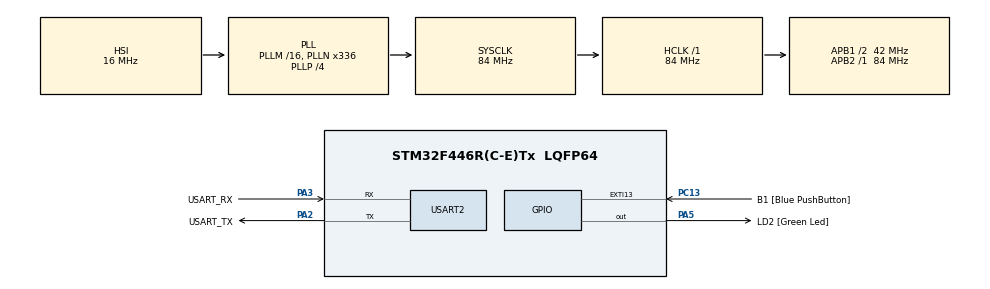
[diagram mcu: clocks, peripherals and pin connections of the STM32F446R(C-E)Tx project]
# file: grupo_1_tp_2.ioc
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Dma.Request0=USART2_TX
Dma.USART2_TX.0.Direction=DMA_MEMORY_TO_PERIPH
Dma.USART2_TX.0.FIFOMode=DMA_FIFOMODE_DISABLE
Dma.USART2_TX.0.Instance=DMA1_Stream6
Dma.USART2_TX.0.MemDataAlignment=DMA_MDATAALIGN_BYTE
Dma.USART2_TX.0.MemInc=DMA_MINC_ENABLE
Dma.USART2_TX.0.Mode=DMA_NORMAL
Dma.USART2_TX.0.PeriphDataAlignment=DMA_PDATAALIGN_BYTE
Dma.USART2_TX.0.PeriphInc=DMA_PINC_DISABLE
Dma.USART2_TX.0.Priority=DMA_PRIORITY_LOW
FREERTOS.INCLUDE_vTaskDelayUntil=1
FREERTOS.Tasks01=defaultTask,0,128,StartDefaultTask,Default,NULL,Dynamic,NULL,NULL
FREERTOS.configGENERATE_RUN_TIME_STATS=1
FREERTOS.configRECORD_STACK_HIGH_ADDRESS=1
FREERTOS.configUSE_IDLE_HOOK=1
FREERTOS.configUSE_STATS_FORMATTING_FUNCTIONS=1
FREERTOS.configUSE_TRACE_FACILITY=1
Mcu.Family=STM32F4
Mcu.Name=STM32F446R(C-E)Tx
Mcu.Package=LQFP64
NVIC.DMA1_Stream6_IRQn=true\:5\:0\:false\:false\:true\:true\:false\:true\:true
NVIC.PriorityGroup=NVIC_PRIORITYGROUP_4
NVIC.TIM1_UP_TIM10_IRQn=true\:15\:0\:false\:false\:true\:false\:false\:true\:true
NVIC.TIM2_IRQn=true\:5\:0\:false\:false\:true\:true\:true\:true\:true
NVIC.TimeBase=TIM1_UP_TIM10_IRQn
NVIC.TimeBaseIP=TIM1
NVIC.USART2_IRQn=true\:5\:0\:false\:false\:true\:true\:true\:true\:true
PA13.GPIO_Label=TMS
PA13.Mode=Serial_Wire
PA13.Signal=SYS_JTMS-SWDIO
PA14.GPIO_Label=TCK
PA14.Mode=Serial_Wire
PA14.Signal=SYS_JTCK-SWCLK
PA2.GPIO_Label=USART_TX
PA2.Mode=Asynchronous
PA2.Signal=USART2_TX
PA3.GPIO_Label=USART_RX
PA3.Mode=Asynchronous
PA3.Signal=USART2_RX
PA5.GPIO_Label=LD2 [Green Led]
PA5.Signal=GPIO_Output
PB3.GPIO_Label=SWO
PB3.Signal=SYS_JTDO-SWO
PC13.GPIO_Label=B1 [Blue PushButton]
PC13.GPIO_ModeDefaultEXTI=GPIO_MODE_IT_FALLING
PC13.Signal=GPXTI13
PC14-OSC32_IN.Mode=LSE-External-Oscillator
PC14-OSC32_IN.Signal=RCC_OSC32_IN
PC15-OSC32_OUT.Mode=LSE-External-Oscillator
PC15-OSC32_OUT.Signal=RCC_OSC32_OUT
PH0-OSC_IN.Mode=HSE-External-Oscillator
PH0-OSC_IN.Signal=RCC_OSC_IN
PH1-OSC_OUT.Mode=HSE-External-Oscillator
PH1-OSC_OUT.Signal=RCC_OSC_OUT
ProjectManager.HeapSize=0x200
ProjectManager.StackSize=0x400
ProjectManager.TargetToolchain=STM32CubeIDE
RCC.48MHZClocksFreq_Value=84000000
RCC.AHBFreq_Value=84000000
RCC.APB1CLKDivider=RCC_HCLK_DIV2
RCC.APB1Freq_Value=42000000
RCC.APB1TimFreq_Value=84000000
RCC.APB2Freq_Value=84000000
RCC.APB2TimFreq_Value=84000000
RCC.CortexFreq_Value=84000000
RCC.FLatency-AdvancedSettings=FLASH_LATENCY_2
RCC.HCLKFreq_Value=84000000
RCC.HSE_VALUE=8000000
RCC.HSI_VALUE=16000000
RCC.PLLN=336
RCC.PLLP=RCC_PLLP_DIV4
RCC.SYSCLKFreq_VALUE=84000000
RCC.SYSCLKSource=RCC_SYSCLKSOURCE_PLLCLK
RCC.USBFreq_Value=168000000
RCC.VCOOutputFreq_Value=336000000
TIM2.Period=42000-1
TIM2.Prescaler=2-1
USART2.VirtualMode=VM_ASYNC
VP_FREERTOS_VS_CMSIS_V1.Mode=CMSIS_V1
VP_SYS_VS_tim1.Mode=TIM1
VP_TIM2_VS_ClockSourceINT.Mode=Internal
board=NUCLEO-F446RE

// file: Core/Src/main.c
/* USER CODE BEGIN Header */
/**
  ******************************************************************************
  * @file           : main.c
  * @brief          : Main program body
  ******************************************************************************
  * @attention
  *
  * Copyright (c) 2025 STMicroelectronics.
  * All rights reserved.
  *
  * This software is licensed under terms that can be found in the LICENSE file
  * in the root directory of this software component.
  * If no LICENSE file comes with this software, it is provided AS-IS.
  *
  ******************************************************************************
  */
/* USER CODE END Header */
#include "main.h"
#include "cmsis_os.h"

/* USER CODE BEGIN Includes */
/* Demo includes. */
#include "logger.h"
#include "logger_sink_uart.h"
#include "ao_uart.h"
#include "port_uart.h"
#include "dwt.h"

/* Application includes. */
#include "app.h"

/* USER CODE END Includes */

TIM_HandleTypeDef htim2;

UART_HandleTypeDef huart2;
DMA_HandleTypeDef hdma_usart2_tx;

osThreadId defaultTaskHandle;
/* USER CODE BEGIN PV */
volatile unsigned long ulHighFrequencyTimerTicks;

/* USER CODE END PV */

void SystemClock_Config(void);
static void MX_GPIO_Init(void);
static void MX_DMA_Init(void);
static void MX_USART2_UART_Init(void);
static void MX_TIM2_Init(void);
void StartDefaultTask(void const * argument);

int main(void)
{

  /* MCU Configuration--------------------------------------------------------*/

  /* Reset of all peripherals, Initializes the Flash interface and the Systick. */
  HAL_Init();

  /* Configure the system clock */
  SystemClock_Config();

  /* Initialize all configured peripherals */
  MX_GPIO_Init();
  MX_DMA_Init();
  MX_USART2_UART_Init();
  MX_TIM2_Init();
  /* USER CODE BEGIN 2 */
  /* Start timer */
	HAL_TIM_Base_Start_IT(&htim2);

    /* add application, ... */
	app_init();

  /* USER CODE END 2 */

  /* USER CODE BEGIN RTOS_QUEUES */
  /* add queues, ... */
	#ifdef _defaultTask_

  /* USER CODE END RTOS_QUEUES */

  /* Create the thread(s) */
  /* definition and creation of defaultTask */
  osThreadDef(defaultTask, StartDefaultTask, osPriorityNormal, 0, 128);
  defaultTaskHandle = osThreadCreate(osThread(defaultTask), NULL);

  /* USER CODE BEGIN RTOS_THREADS */
	#endif

  /* add threads, ... */
  /* USER CODE END RTOS_THREADS */

  /* Start scheduler */
  osKernelStart();

  /* We should never get here as control is now taken by the scheduler */

  /* Infinite loop */
  while (1)
  {

  }
}

void SystemClock_Config(void)
{
  RCC_OscInitTypeDef RCC_OscInitStruct = {0};
  RCC_ClkInitTypeDef RCC_ClkInitStruct = {0};

  /** Configure the main internal regulator output voltage
  */
  __HAL_RCC_PWR_CLK_ENABLE();
  __HAL_PWR_VOLTAGESCALING_CONFIG(PWR_REGULATOR_VOLTAGE_SCALE3);

  /** Initializes the RCC Oscillators according to the specified parameters
  * in the RCC_OscInitTypeDef structure.
  */
  RCC_OscInitStruct.OscillatorType = RCC_OSCILLATORTYPE_HSI;
  RCC_OscInitStruct.HSIState = RCC_HSI_ON;
  RCC_OscInitStruct.HSICalibrationValue = RCC_HSICALIBRATION_DEFAULT;
  RCC_OscInitStruct.PLL.PLLState = RCC_PLL_ON;
  RCC_OscInitStruct.PLL.PLLSource = RCC_PLLSOURCE_HSI;
  RCC_OscInitStruct.PLL.PLLM = 16;
  RCC_OscInitStruct.PLL.PLLN = 336;
  RCC_OscInitStruct.PLL.PLLP = RCC_PLLP_DIV4;
  RCC_OscInitStruct.PLL.PLLQ = 2;
  RCC_OscInitStruct.PLL.PLLR = 2;
  if (HAL_RCC_OscConfig(&RCC_OscInitStruct) != HAL_OK)
  {
    Error_Handler();
  }

  /** Initializes the CPU, AHB and APB buses clocks
  */
  RCC_ClkInitStruct.ClockType = RCC_CLOCKTYPE_HCLK|RCC_CLOCKTYPE_SYSCLK
                              |RCC_CLOCKTYPE_PCLK1|RCC_CLOCKTYPE_PCLK2;
  RCC_ClkInitStruct.SYSCLKSource = RCC_SYSCLKSOURCE_PLLCLK;
  RCC_ClkInitStruct.AHBCLKDivider = RCC_SYSCLK_DIV1;
  RCC_ClkInitStruct.APB1CLKDivider = RCC_HCLK_DIV2;
  RCC_ClkInitStruct.APB2CLKDivider = RCC_HCLK_DIV1;

  if (HAL_RCC_ClockConfig(&RCC_ClkInitStruct, FLASH_LATENCY_2) != HAL_OK)
  {
    Error_Handler();
  }
}

static void MX_TIM2_Init(void)
{

  TIM_ClockConfigTypeDef sClockSourceConfig = {0};
  TIM_MasterConfigTypeDef sMasterConfig = {0};

  htim2.Instance = TIM2;
  htim2.Init.Prescaler = 2-1;
  htim2.Init.CounterMode = TIM_COUNTERMODE_UP;
  htim2.Init.Period = 42000-1;
  htim2.Init.ClockDivision = TIM_CLOCKDIVISION_DIV1;
  htim2.Init.AutoReloadPreload = TIM_AUTORELOAD_PRELOAD_DISABLE;
  if (HAL_TIM_Base_Init(&htim2) != HAL_OK)
  {
    Error_Handler();
  }
  sClockSourceConfig.ClockSource = TIM_CLOCKSOURCE_INTERNAL;
  if (HAL_TIM_ConfigClockSource(&htim2, &sClockSourceConfig) != HAL_OK)
  {
    Error_Handler();
  }
  sMasterConfig.MasterOutputTrigger = TIM_TRGO_RESET;
  sMasterConfig.MasterSlaveMode = TIM_MASTERSLAVEMODE_DISABLE;
  if (HAL_TIMEx_MasterConfigSynchronization(&htim2, &sMasterConfig) != HAL_OK)
  {
    Error_Handler();
  }

}

static void MX_USART2_UART_Init(void)
{

  huart2.Instance = USART2;
  huart2.Init.BaudRate = 115200;
  huart2.Init.WordLength = UART_WORDLENGTH_8B;
  huart2.Init.StopBits = UART_STOPBITS_1;
  huart2.Init.Parity = UART_PARITY_NONE;
  huart2.Init.Mode = UART_MODE_TX_RX;
  huart2.Init.HwFlowCtl = UART_HWCONTROL_NONE;
  huart2.Init.OverSampling = UART_OVERSAMPLING_16;
  if (HAL_UART_Init(&huart2) != HAL_OK)
  {
    Error_Handler();
  }

}

static void MX_DMA_Init(void)
{

  /* DMA controller clock enable */
  __HAL_RCC_DMA1_CLK_ENABLE();

  /* DMA interrupt init */
  /* DMA1_Stream6_IRQn interrupt configuration */
  HAL_NVIC_SetPriority(DMA1_Stream6_IRQn, 5, 0);
  HAL_NVIC_EnableIRQ(DMA1_Stream6_IRQn);

}

static void MX_GPIO_Init(void)
{
  GPIO_InitTypeDef GPIO_InitStruct = {0};

  /* GPIO Ports Clock Enable */
  __HAL_RCC_GPIOC_CLK_ENABLE();
  __HAL_RCC_GPIOH_CLK_ENABLE();
  __HAL_RCC_GPIOA_CLK_ENABLE();
  __HAL_RCC_GPIOB_CLK_ENABLE();

  /*Configure GPIO pin Output Level */
  HAL_GPIO_WritePin(LD2_GPIO_Port, LD2_Pin, GPIO_PIN_RESET);

  /*Configure GPIO pin : B1_Pin (Button) */
  GPIO_InitStruct.Pin = B1_Pin;
  GPIO_InitStruct.Mode = GPIO_MODE_INPUT;
  GPIO_InitStruct.Pull = GPIO_NOPULL;
  HAL_GPIO_Init(B1_GPIO_Port, &GPIO_InitStruct);

  /*Configure GPIO pin : LD2_Pin */
  GPIO_InitStruct.Pin = LD2_Pin;
  GPIO_InitStruct.Mode = GPIO_MODE_OUTPUT_PP;
  GPIO_InitStruct.Pull = GPIO_NOPULL;
  GPIO_InitStruct.Speed = GPIO_SPEED_FREQ_LOW;
  HAL_GPIO_Init(LD2_GPIO_Port, &GPIO_InitStruct);

}

/* USER CODE BEGIN 4 */
/* Functions needed when configGENERATE_RUN_TIME_STATS is on */
void configureTimerForRunTimeStats(void)
{
    ulHighFrequencyTimerTicks = 0;
}

unsigned long getRunTimeCounterValue(void)
{
	return ulHighFrequencyTimerTicks;
}

/* USER CODE END 4 */

void StartDefaultTask(void const * argument)
{
  for(;;)
  {
    osDelay(1);
  }
}

void HAL_TIM_PeriodElapsedCallback(TIM_HandleTypeDef *htim)
{
  if (htim->Instance == TIM1) {
    HAL_IncTick();
  }
  /* USER CODE BEGIN Callback 1 */
	if (htim->Instance == TIM2)
	{
		ulHighFrequencyTimerTicks++;
	}

  /* USER CODE END Callback 1 */
}

void Error_Handler(void)
{
  __disable_irq();
  while (1)
  {
  }
}

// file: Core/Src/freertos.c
/* USER CODE BEGIN Header */
/**
  ******************************************************************************
  * File Name          : freertos.c
  * Description        : Code for freertos applications
  ******************************************************************************
  * @attention
  *
  * Copyright (c) 2025 STMicroelectronics.
  * All rights reserved.
  *
  * This software is licensed under terms that can be found in the LICENSE file
  * in the root directory of this software component.
  * If no LICENSE file comes with this software, it is provided AS-IS.
  *
  ******************************************************************************
  */
/* USER CODE END Header */

#include "FreeRTOS.h"
#include "task.h"
#include "main.h"

/* USER CODE BEGIN Variables */
/* Static memory for the Timer task */
static StaticTask_t xTimerTaskTCBBuffer;
static StackType_t xTimerTaskStackBuffer[configTIMER_TASK_STACK_DEPTH];
/* USER CODE END Variables */

/* GetIdleTaskMemory prototype (linked to static allocation support) */
void vApplicationGetIdleTaskMemory( StaticTask_t **ppxIdleTaskTCBBuffer, StackType_t **ppxIdleTaskStackBuffer, uint32_t *pulIdleTaskStackSize );

/* Hook prototypes */

void vApplicationGetTimerTaskMemory(StaticTask_t **ppxTimerTaskTCBBuffer,
                                  StackType_t **ppxTimerTaskStackBuffer,
                                  uint32_t *pulTimerTaskStackSize)
{
    *ppxTimerTaskTCBBuffer = &xTimerTaskTCBBuffer;
    *ppxTimerTaskStackBuffer = xTimerTaskStackBuffer;
    *pulTimerTaskStackSize = configTIMER_TASK_STACK_DEPTH;
}
void configureTimerForRunTimeStats(void);
unsigned long getRunTimeCounterValue(void);
void vApplicationIdleHook(void);

/* USER CODE BEGIN 1 */
/* Functions needed when configGENERATE_RUN_TIME_STATS is on */
__weak void configureTimerForRunTimeStats(void)
{

}

__weak unsigned long getRunTimeCounterValue(void)
{
return 0;
}
/* USER CODE END 1 */

/* USER CODE BEGIN 2 */
__weak void vApplicationIdleHook( void )
{
   /* vApplicationIdleHook() will only be called if configUSE_IDLE_HOOK is set
   to 1 in FreeRTOSConfig.h. It will be called on each iteration of the idle
   task. It is essential that code added to this hook function never attempts
   to block in any way (for example, call xQueueReceive() with a block time
   specified, or call vTaskDelay()). If the application makes use of the
   vTaskDelete() API function (as this demo application does) then it is also
   important that vApplicationIdleHook() is permitted to return to its calling
   function, because it is the responsibility of the idle task to clean up
   memory allocated by the kernel to any task that has since been deleted. */
}
/* USER CODE END 2 */

/* USER CODE BEGIN GET_IDLE_TASK_MEMORY */
static StaticTask_t xIdleTaskTCBBuffer;
static StackType_t xIdleStack[configMINIMAL_STACK_SIZE];

void vApplicationGetIdleTaskMemory( StaticTask_t **ppxIdleTaskTCBBuffer, StackType_t **ppxIdleTaskStackBuffer, uint32_t *pulIdleTaskStackSize )
{
  *ppxIdleTaskTCBBuffer = &xIdleTaskTCBBuffer;
  *ppxIdleTaskStackBuffer = &xIdleStack[0];
  *pulIdleTaskStackSize = configMINIMAL_STACK_SIZE;
  /* place for user code */
}
/* USER CODE END GET_IDLE_TASK_MEMORY */
